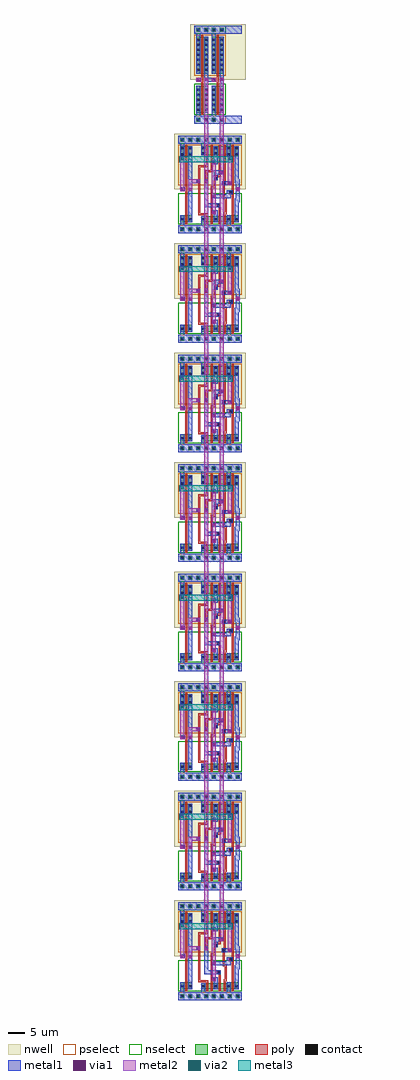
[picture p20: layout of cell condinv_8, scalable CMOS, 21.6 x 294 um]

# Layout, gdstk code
import gdstk
lib = gdstk.Library(unit=1e-6, precision=1e-09)
def R(c, l, rs):  # rectangles x0, y0, x1, y1
    for r in rs: c.add(gdstk.rectangle(r[:2], r[2:], *l))
def A(c, l, x, y, w, h, nx, ny, dx, dy):  # array of equal rectangles
    R(c, l, [(x+i*dx, y+j*dy, x+i*dx+w, y+j*dy+h) for i in range(nx) for j in range(ny)])
def P(c, l, *ps):  # polygons
    for p in ps: c.add(gdstk.Polygon(p, *l))
contact = (25, 0)
nwell = (42, 0)
active = (43, 0)
pselect = (44, 0)
nselect = (45, 0)
poly = (46, 0)
metal1 = (49, 0)
via1 = (50, 0)
metal2 = (51, 0)
via2 = (61, 0)
metal3 = (62, 0)

invbuf_4x = lib.new_cell('invbuf_4x')
A(invbuf_4x, contact, 0.9, -0.3, 0.6, 0.6, 4, 2, 2.4, 3)
A(invbuf_4x, contact, 0.9, 4.2, 0.6, 0.6, 4, 4, 2.4, 1.5)
A(invbuf_4x, contact, 0.9, 14.7, 0.6, 0.6, 4, 7, 2.4, 1.5)
A(invbuf_4x, contact, 0.9, 26.7, 0.6, 0.6, 4, 1, 2.4, 0)
R(invbuf_4x, contact, [(0.9,11.7,1.5,12.3), (5.7,11.7,6.3,12.3)])
R(invbuf_4x, nwell, [(-1.2,12,6,28.8), (3.6,12,10.8,28.8)])
A(invbuf_4x, active, 0.6, -0.6, 1.2, 1.2, 4, 2, 2.4, 27)
R(invbuf_4x, active, [(0.6,2.1,4.2,10.2), (5.4,2.1,9,10.2), (0.6,13.8,4.2,24.9), (5.4,13.8,9,24.9)])
R(invbuf_4x, pselect, [(0,-1.2,4.8,1.2), (4.8,-1.2,9.6,1.2), (0,13.2,4.8,25.5), (4.8,13.2,9.6,25.5)])
R(invbuf_4x, nselect, [(0,1.5,4.8,10.8), (4.8,1.5,9.6,10.8), (0,25.8,4.8,28.2), (4.8,25.8,9.6,28.2)])
P(invbuf_4x, poly, [(7.5,25.5),(6.9,25.5),(6.9,12.6),(5.4,12.6),(5.4,11.4),(6.9,11.4),(6.9,1.5),(7.5,1.5)],
  [(2.7,25.5),(2.1,25.5),(2.1,12.6),(0.6,12.6),(0.6,11.4),(2.1,11.4),(2.1,1.5),(2.7,1.5)])
R(invbuf_4x, metal1, [(0,-1.2,9.6,1.2), (0,-1.2,4.8,1.2), (4.8,-1.2,9.6,1.2), (3,2.1,4.2,24.9), (7.8,2.1,9,24.9), (0.6,11.4,1.8,12.6), (3,11.4,6.6,12.6), (0,25.8,9.6,28.2), (0,25.8,4.8,28.2), (4.8,25.8,9.6,28.2)])
P(invbuf_4x, metal1, [(9.6,1.2),(6.6,1.2),(6.6,10.2),(5.4,10.2),(5.4,1.2),(4.8,1.2),(4.8,-1.2),(9.6,-1.2)],
  [(9.6,28.2),(4.8,28.2),(4.8,25.8),(5.4,25.8),(5.4,13.8),(6.6,13.8),(6.6,25.8),(9.6,25.8)],
  [(4.8,1.2),(1.8,1.2),(1.8,10.2),(0.6,10.2),(0.6,1.2),(0,1.2),(0,-1.2),(4.8,-1.2)],
  [(4.8,28.2),(0,28.2),(0,25.8),(0.6,25.8),(0.6,13.8),(1.8,13.8),(1.8,25.8),(4.8,25.8)])
R(invbuf_4x, via1, [(0.9,11.7,1.5,12.3), (3.3,11.7,3.9,12.3), (8.1,11.7,8.7,12.3)])
R(invbuf_4x, metal2, [(0.6,11.4,1.8,12.6), (0.6,11.4,1.8,12.6), (0.6,11.4,1.8,12.6), (0.6,11.4,2.1,12.6), (3,11.4,4.2,12.6), (3,11.4,4.2,12.6), (3,11.4,4.2,12.6), (5.4,11.4,6.6,12.6), (5.4,11.4,6.6,12.6), (7.8,11.4,9,12.6), (7.8,11.4,9,12.6), (7.8,11.4,9,12.6)])

mux2_dp_1x = lib.new_cell('mux2_dp_1x')
A(mux2_dp_1x, contact, 0.9, -0.3, 0.6, 0.6, 6, 2, 2.4, 27)
A(mux2_dp_1x, contact, 2.4, 2.7, 0.6, 0.6, 3, 2, 3.9, 21.3)
R(mux2_dp_1x, contact, [(12.6,2.7,13.2,3.3), (7.2,6.9,7.8,7.5), (10.8,10.8,11.4,11.4), (8.7,13.5,9.3,14.1), (0.9,14.1,1.5,14.7), (3.3,14.1,3.9,14.7), (6.3,15,6.9,15.6), (10.2,22.2,10.8,22.8), (12.6,22.2,13.2,22.8), (2.4,22.5,3,23.1), (6.3,22.5,6.9,23.1), (12.6,24,13.2,24.6)])
R(mux2_dp_1x, nwell, [(-1.2,12,15.6,28.8)])
A(mux2_dp_1x, active, 0.6, -0.6, 1.2, 1.2, 6, 2, 2.4, 27)
P(mux2_dp_1x, active, [(13.5,4.2),(9.9,4.2),(9.9,3.9),(2.1,3.9),(2.1,2.1),(13.5,2.1)],
  [(13.5,24.9),(2.1,24.9),(2.1,22.2),(9.9,22.2),(9.9,21.9),(13.5,21.9)])
R(mux2_dp_1x, pselect, [(0,-1.2,14.4,1.2), (0,13.2,14.4,25.5)])
R(mux2_dp_1x, nselect, [(0,1.5,14.4,10.8), (0,25.8,14.4,28.2)])
P(mux2_dp_1x, poly, [(4.2,4.8),(1.8,4.8),(1.8,18.6),(4.2,18.6),(4.2,25.5),(3.6,25.5),(3.6,19.2),(1.2,19.2),(1.2,15),(0.6,15),(0.6,13.8),(1.2,13.8),(1.2,4.2),(3.6,4.2),(3.6,1.5),(4.2,1.5)],
  [(5.7,25.5),(5.1,25.5),(5.1,17.7),(3.3,17.7),(3.3,15),(3,15),(3,13.8),(4.2,13.8),(4.2,15),(3.9,15),(3.9,17.1),(5.7,17.1)],
  [(8.1,25.5),(7.5,25.5),(7.5,16.2),(6,16.2),(6,12.9),(5.1,12.9),(5.1,1.5),(5.7,1.5),(5.7,12.3),(6.6,12.3),(6.6,14.7),(7.2,14.7),(7.2,15.6),(8.1,15.6)],
  [(8.1,7.8),(6.9,7.8),(6.9,6.6),(7.5,6.6),(7.5,1.5),(8.1,1.5)],
  [(9.9,9.6),(9.3,9.6),(9.3,13.2),(9.6,13.2),(9.6,25.5),(9,25.5),(9,14.4),(8.4,14.4),(8.4,13.2),(8.7,13.2),(8.7,9),(9.3,9),(9.3,5.1),(9,5.1),(9,1.5),(9.6,1.5),(9.6,4.5),(9.9,4.5)],
  [(12,25.5),(11.4,25.5),(11.4,11.7),(10.5,11.7),(10.5,10.5),(11.4,10.5),(11.4,1.5),(12,1.5)])
R(mux2_dp_1x, metal1, [(0,-1.2,14.4,1.2), (8.4,13.2,11.4,14.4), (0.6,13.8,1.8,15), (0,25.8,14.4,28.2)])
P(mux2_dp_1x, metal1, [(7.2,24.9),(6,24.9),(6,20.7),(5.4,20.7),(5.4,19.5),(7.2,19.5)],
  [(7.2,5.7),(5.4,5.7),(5.4,4.5),(6,4.5),(6,2.1),(7.2,2.1)],
  [(8.1,7.8),(4.2,7.8),(4.2,15),(3,15),(3,6.6),(8.1,6.6)],
  [(9,17.7),(6,17.7),(6,14.7),(7.2,14.7),(7.2,16.5),(9,16.5)],
  [(13.8,15),(13.5,15),(13.5,24.9),(12.3,24.9),(12.3,13.8),(12.6,13.8),(12.6,9.3),(12.3,9.3),(12.3,2.1),(13.5,2.1),(13.5,8.1),(13.8,8.1)],
  [(14.4,1.2),(11.1,1.2),(11.1,4.2),(9.9,4.2),(9.9,1.2),(3.3,1.2),(3.3,3.9),(2.1,3.9),(2.1,1.2),(0,1.2),(0,-1.2),(14.4,-1.2)],
  [(11.7,11.7),(9.9,11.7),(9.9,10.5),(5.4,10.5),(5.4,9.3),(11.1,9.3),(11.1,10.5),(11.7,10.5)],
  [(14.4,28.2),(0,28.2),(0,25.8),(2.1,25.8),(2.1,22.2),(3.3,22.2),(3.3,25.8),(9.9,25.8),(9.9,21.9),(11.1,21.9),(11.1,25.8),(14.4,25.8)])
R(mux2_dp_1x, via1, [(5.7,4.8,6.3,5.4), (5.7,9.6,6.3,10.2), (12.9,11.7,13.5,12.3), (10.5,13.5,11.1,14.1), (0.9,14.1,1.5,14.7), (3.3,14.1,3.9,14.7), (8.1,16.8,8.7,17.4), (5.7,19.8,6.3,20.4)])
R(mux2_dp_1x, metal2, [(5.4,4.5,6.6,20.7), (12.6,11.4,13.8,12.6), (10.2,13.2,11.4,14.4), (0.6,13.8,1.8,15), (3,13.8,4.2,15), (7.8,16.5,9,17.7)])

mux2_1x_8 = lib.new_cell('mux2_1x_8')
R(mux2_1x_8, nwell, [(-1.2,276,15.6,292.8)])
R(mux2_1x_8, metal1, [(0,-1.2,14.4,1.2), (0,25.8,14.4,28.2), (0,31.8,14.4,34.2), (0,58.8,14.4,61.2), (0,64.8,14.4,67.2), (0,91.8,14.4,94.2), (0,97.8,14.4,100.2), (0,124.8,14.4,127.2), (0,130.8,14.4,133.2), (0,157.8,14.4,160.2), (0,163.8,14.4,166.2), (0,190.8,14.4,193.2), (0,196.8,14.4,199.2), (0,223.8,14.4,226.2), (0,229.8,14.4,232.2), (0,256.8,14.4,259.2), (0,262.8,14.4,265.2), (0,289.8,14.4,292.2)])
A(mux2_1x_8, metal2, 12.6, 11.4, 1.2, 1.2, 1, 8, 0, 33)
A(mux2_1x_8, metal2, 10.2, 13.2, 1.2, 1.2, 1, 8, 0, 33)
A(mux2_1x_8, metal2, 0.6, 13.8, 1.2, 1.2, 1, 8, 0, 33)
R(mux2_1x_8, metal2, [(3,13.8,4.2,276.6), (7.8,16.5,9,276.6), (0.6,275.4,1.8,276.6)])
mux2_1x_8.add(gdstk.Reference(invbuf_4x, (0,264)))
r = gdstk.Reference(mux2_dp_1x, (0,0)); r.repetition = gdstk.Repetition(1, 8, v1=(16.8,0), v2=(0,33)); mux2_1x_8.add(r)

inv_1x = lib.new_cell('inv_1x')
R(inv_1x, contact, [(0.9,-0.3,1.5,0.3), (3.3,-0.3,3.9,0.3), (0.9,2.7,1.5,3.3), (3.3,2.7,3.9,3.3), (0.9,11.7,1.5,12.3), (0.9,22.2,1.5,22.8), (3.3,22.2,3.9,22.8), (0.9,24,1.5,24.6), (3.3,24,3.9,24.6), (0.9,26.7,1.5,27.3), (3.3,26.7,3.9,27.3)])
R(inv_1x, nwell, [(-1.2,12,6,28.8)])
R(inv_1x, active, [(0.6,-0.6,1.8,0.6), (3,-0.6,4.2,0.6), (0.6,2.1,4.2,4.2), (0.6,21.9,4.2,24.9), (0.6,26.4,1.8,27.6), (3,26.4,4.2,27.6)])
R(inv_1x, pselect, [(0,-1.2,4.8,1.2), (0,13.2,4.8,25.5)])
R(inv_1x, nselect, [(0,1.5,4.8,10.8), (0,25.8,4.8,28.2)])
R(inv_1x, poly, [(2.1,1.5,2.7,25.5), (0.6,11.4,2.1,12.6)])
R(inv_1x, metal1, [(0,-1.2,4.8,1.2), (0,-1.2,4.8,1.2), (0.6,1.2,1.8,4.2), (3,2.1,4.2,24.9), (0.6,11.4,1.8,12.6), (0.6,21.9,1.8,25.8), (0,25.8,4.8,28.2), (0,25.8,4.8,28.2)])
R(inv_1x, via1, [(0.9,11.7,1.5,12.3), (3.3,11.7,3.9,12.3)])
R(inv_1x, metal2, [(0.6,11.4,1.8,12.6), (0.6,11.4,1.8,12.6), (0.6,11.4,1.8,12.6), (0.9,11.4,2.1,12.6), (3,11.4,4.2,12.6), (3,11.4,4.2,12.6)])

inv_1x_8 = lib.new_cell('inv_1x_8')
R(inv_1x_8, metal1, [(0,-1.2,4.8,1.2), (0,25.8,4.8,28.2), (0,31.8,4.8,34.2), (0,58.8,4.8,61.2), (0,64.8,4.8,67.2), (0,91.8,4.8,94.2), (0,97.8,4.8,100.2), (0,124.8,4.8,127.2), (0,130.8,4.8,133.2), (0,157.8,4.8,160.2), (0,163.8,4.8,166.2), (0,190.8,4.8,193.2), (0,196.8,4.8,199.2), (0,223.8,4.8,226.2), (0,229.8,4.8,232.2), (0,256.8,4.8,259.2)])
A(inv_1x_8, metal2, 0.6, 11.4, 1.2, 1.2, 1, 8, 0, 33)
A(inv_1x_8, metal2, 3, 11.4, 1.2, 1.2, 1, 8, 0, 33)
r = gdstk.Reference(inv_1x, (0,0)); r.repetition = gdstk.Repetition(1, 8, v1=(7.2,0), v2=(0,33)); inv_1x_8.add(r)

condinv_8 = lib.new_cell('condinv_8')
R(condinv_8, metal1, [(0,-1.2,19.2,1.2), (0,25.8,19.2,28.2), (0,31.8,19.2,34.2), (0,58.8,19.2,61.2), (0,64.8,19.2,67.2), (0,91.8,19.2,94.2), (0,97.8,19.2,100.2), (0,124.8,19.2,127.2), (0,130.8,19.2,133.2), (0,157.8,19.2,160.2), (0,163.8,19.2,166.2), (0,190.8,19.2,193.2), (0,196.8,19.2,199.2), (0,223.8,19.2,226.2), (0,229.8,19.2,232.2), (0,256.8,19.2,259.2), (4.8,262.8,19.2,265.2), (4.8,289.8,19.2,292.2)])
A(condinv_8, metal2, 0.6, 11.4, 1.2, 10.2, 1, 8, 0, 33)
A(condinv_8, metal2, 3, 11.4, 1.2, 3.6, 1, 8, 0, 33)
A(condinv_8, metal2, 17.4, 11.4, 1.2, 1.2, 1, 8, 0, 33)
A(condinv_8, metal2, 15, 13.2, 1.2, 8.4, 1, 8, 0, 33)
A(condinv_8, metal2, 3, 13.8, 3.6, 1.2, 1, 8, 0, 33)
A(condinv_8, metal2, 0.6, 20.4, 1.2, 1.2, 1, 8, 0, 33)
R(condinv_8, metal2, [(5.4,275.4,6.6,276.6)])
A(condinv_8, via2, 0.9, 20.7, 0.6, 0.6, 1, 8, 0, 33)
A(condinv_8, via2, 15.3, 20.7, 0.6, 0.6, 1, 8, 0, 33)
A(condinv_8, metal3, 0.3, 20.1, 16.2, 1.8, 1, 8, 0, 33)
condinv_8.add(gdstk.Reference(mux2_1x_8, (4.8,0)))
condinv_8.add(gdstk.Reference(inv_1x_8, (0,0)))

lib.write_gds('condinv_8.gds')
